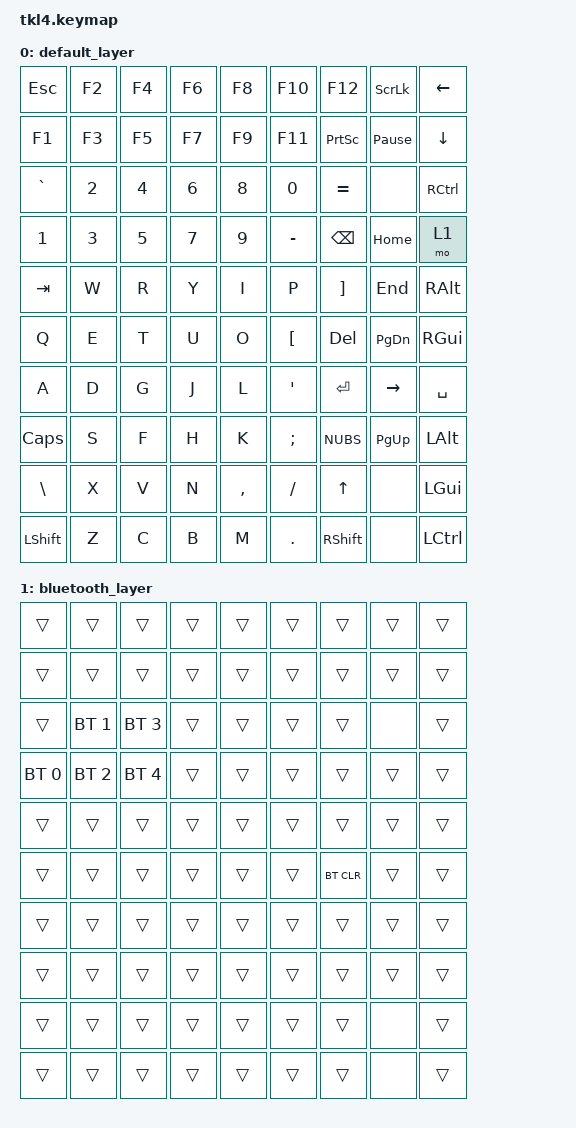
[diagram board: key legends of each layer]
#include <behaviors.dtsi>
#include <dt-bindings/zmk/keys.h>
#include <dt-bindings/zmk/bt.h>

/ {
    keymap {
        compatible = "zmk,keymap";

        default_layer {
            bindings = <
                &kp ESC         &kp F2        &kp F4        &kp F6        &kp F8        &kp F10       &kp F12           &kp SCROLLLOCK    &kp LEFT
                &kp F1          &kp F3        &kp F5        &kp F7        &kp F9        &kp F11       &kp PRINTSCREEN   &kp PAUSE_BREAK   &kp DOWN
                &kp GRAVE       &kp N2        &kp N4        &kp N6        &kp N8        &kp N0        &kp EQUAL         &none              &kp RIGHT_CONTROL
                &kp N1          &kp N3        &kp N5        &kp N7        &kp N9        &kp MINUS     &kp BACKSPACE     &kp HOME           &mo 1
                &kp TAB         &kp W         &kp R         &kp Y         &kp I         &kp P         &kp RIGHT_BRACKET &kp END            &kp RIGHT_ALT
                &kp Q           &kp E         &kp T         &kp U         &kp O         &kp LEFT_BRACKET &kp DELETE      &kp PAGE_DOWN      &kp RIGHT_GUI
                &kp A           &kp D         &kp G         &kp J         &kp L         &kp SINGLE_QUOTE &kp ENTER       &kp RIGHT          &kp SPACE
                &kp CAPSLOCK    &kp S         &kp F         &kp H         &kp K         &kp SEMICOLON &kp NUBS          &kp PAGE_UP        &kp LEFT_ALT
                &kp BACKSLASH   &kp X         &kp V         &kp N         &kp COMMA     &kp SLASH     &kp UP            &none              &kp LEFT_GUI
                &kp LEFT_SHIFT  &kp Z         &kp C         &kp B         &kp M         &kp DOT       &kp RIGHT_SHIFT   &none              &kp LEFT_CONTROL
            >;
        };

        bluetooth_layer {
            bindings = <
                &trans          &trans        &trans        &trans        &trans        &trans        &trans            &trans             &trans
                &trans          &trans        &trans        &trans        &trans        &trans        &trans            &trans             &trans
                &trans          &bt BT_SEL 1  &bt BT_SEL 3  &trans        &trans        &trans        &trans            &none              &trans
                &bt BT_SEL 0    &bt BT_SEL 2  &bt BT_SEL 4  &trans        &trans        &trans        &trans            &trans             &trans
                &trans          &trans        &trans        &trans        &trans        &trans        &trans            &trans             &trans
                &trans          &trans        &trans        &trans        &trans        &trans        &bt BT_CLR        &trans             &trans
                &trans          &trans        &trans        &trans        &trans        &trans        &trans            &trans             &trans
                &trans          &trans        &trans        &trans        &trans        &trans        &trans            &trans             &trans
                &trans          &trans        &trans        &trans        &trans        &trans        &trans            &none              &trans
                &trans          &trans        &trans        &trans        &trans        &trans        &trans            &none              &trans
            >;
        };
    };

    combos {
        compatible = "zmk,combos";

        combo_bootloader {
            timeout-ms = <100>;
            key-positions = <0 21>;
            bindings = <&bootloader>;
        };
    };
};
